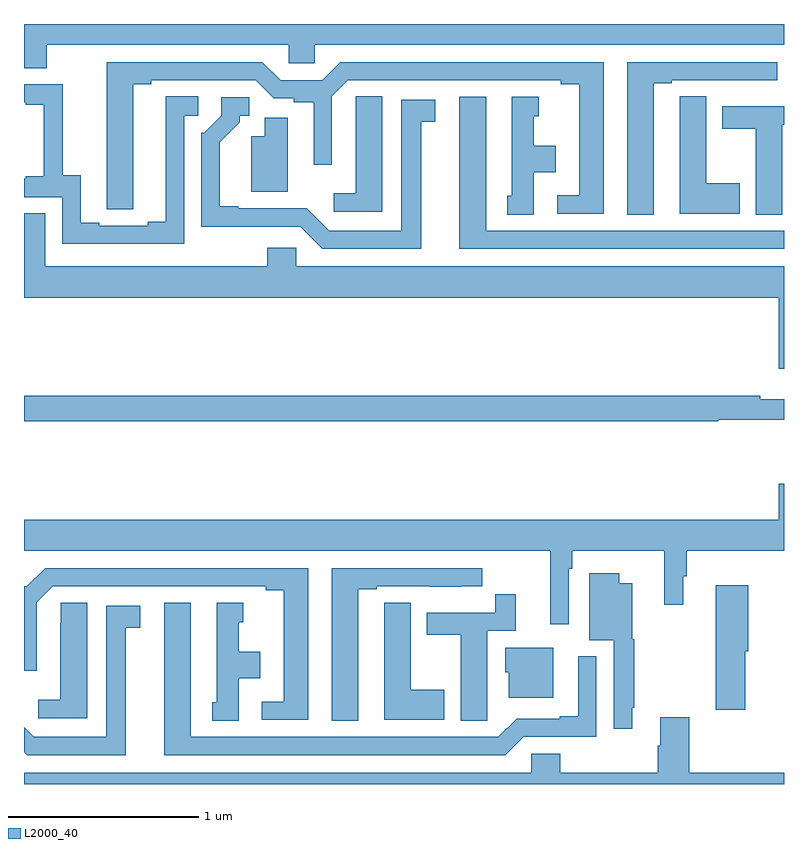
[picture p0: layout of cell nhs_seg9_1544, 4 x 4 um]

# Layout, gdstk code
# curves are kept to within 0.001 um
import gdstk
lib = gdstk.Library(unit=1e-6, precision=1e-09)
def P(c, l, *ps):  # polygons
    for p in ps: c.add(gdstk.Polygon(p, *l))
L2000_40 = (2000, 40)

nhs_seg9_1544 = lib.new_cell('nhs_seg9_1544')
P(nhs_seg9_1544, L2000_40, [(197.121,1224.392),(198.393,1224.392),(198.393,1224.294),(198.531,1224.294),(198.531,1224.392),(201,1224.392),(201,1224.5),(197,1224.5),(197,1224.268),(197.121,1224.268)],
  [(200.05,1224.3),(198.665,1224.3),(198.569,1224.204),(198.351,1224.204),(198.255,1224.3),(197.435,1224.3),(197.436,1223.524),(197.575,1223.524),(197.575,1224.184),(197.671,1224.184),(197.671,1224.204),(198.219,1224.204),(198.315,1224.108),(198.42,1224.108),(198.42,1224.088),(198.524,1224.088),(198.524,1223.76),(198.621,1223.76),(198.621,1224.12),(198.705,1224.204),(199.826,1224.204),(199.826,1224.184),(199.922,1224.184),(199.922,1223.598),(199.806,1223.598),(199.806,1223.502),(200.05,1223.502)],
  [(200.314,1224.189),(200.41,1224.189),(200.41,1224.204),(200.686,1224.204),(200.686,1224.203),(200.852,1224.203),(200.852,1224.204),(200.965,1224.204),(200.965,1224.3),(200.174,1224.3),(200.174,1223.497),(200.314,1223.497)],
  [(197.844,1224.018),(197.917,1224.018),(197.917,1224.119),(197.747,1224.119),(197.747,1223.459),(197.651,1223.459),(197.651,1223.439),(197.395,1223.439),(197.395,1223.454),(197.299,1223.454),(197.299,1223.705),(197.205,1223.705),(197.205,1224.183),(197,1224.183),(197,1224.087),(197.009,1224.087),(197.009,1224.075),(197.105,1224.075),(197.105,1223.698),(197.009,1223.698),(197.009,1223.685),(197,1223.685),(197,1223.589),(197.202,1223.589),(197.202,1223.343),(197.844,1223.343)],
  [(198.886,1224.119),(198.747,1224.119),(198.747,1224.011),(198.746,1224.011),(198.746,1223.608),(198.63,1223.608),(198.63,1223.511),(198.886,1223.511)],
  [(200.767,1223.661),(200.59,1223.661),(200.59,1224.119),(200.451,1224.119),(200.451,1224.011),(200.45,1224.011),(200.45,1223.501),(200.767,1223.501)],
  [(199.684,1223.72),(199.798,1223.72),(199.798,1223.86),(199.684,1223.86),(199.684,1224.015),(199.708,1224.015),(199.708,1224.118),(199.568,1224.118),(199.568,1223.595),(199.544,1223.595),(199.544,1223.497),(199.684,1223.497)],
  [(201,1223.412),(199.432,1223.412),(199.432,1224.118),(199.292,1224.118),(199.292,1223.316),(201,1223.316)],
  [(199.09,1223.986),(199.165,1223.986),(199.165,1224.102),(198.986,1224.102),(198.986,1223.412),(198.606,1223.412),(198.489,1223.529),(198.127,1223.529),(198.127,1223.542),(198.031,1223.542),(198.031,1223.878),(198.136,1223.983),(198.136,1224.018),(198.186,1224.018),(198.186,1224.114),(198.039,1224.114),(198.039,1224.018),(197.949,1223.928),(197.934,1223.928),(197.934,1223.432),(198.453,1223.433),(198.57,1223.316),(199.09,1223.316)],
  [(200.991,1223.608),(200.992,1223.608),(200.992,1223.97),(201,1223.97),(201,1224.066),(200.675,1224.066),(200.675,1223.95),(200.852,1223.95),(200.852,1223.497),(200.991,1223.497)],
  [(198.388,1224.006),(198.266,1224.006),(198.266,1223.908),(198.197,1223.908),(198.197,1223.618),(198.388,1223.618)],
  [(201,1223.224),(198.432,1223.224),(198.432,1223.322),(198.281,1223.322),(198.281,1223.224),(197.113,1223.224),(197.113,1223.504),(197,1223.504),(197,1223.06),(200.972,1223.06),(200.972,1222.686),(201,1222.686)],
  [(200.655,1222.416),(201,1222.416),(201,1222.525),(200.876,1222.525),(200.876,1222.544),(197,1222.544),(197,1222.408),(200.655,1222.408)],
  [(199.866,1221.632),(199.886,1221.632),(199.886,1221.728),(200.371,1221.728),(200.371,1221.444),(200.47,1221.444),(200.47,1221.594),(200.489,1221.594),(200.489,1221.728),(201,1221.728),(201,1222.081),(200.972,1222.081),(200.972,1221.892),(197,1221.892),(197,1221.728),(199.769,1221.728),(199.769,1221.342),(199.866,1221.342)],
  [(198.76,1221.525),(198.856,1221.525),(198.856,1221.54),(199.132,1221.54),(199.132,1221.539),(199.298,1221.539),(199.298,1221.54),(199.411,1221.54),(199.411,1221.636),(198.62,1221.636),(198.62,1220.833),(198.76,1220.833)],
  [(198.496,1221.636),(197.111,1221.636),(197.015,1221.54),(197,1221.54),(197,1221.096),(197.067,1221.096),(197.067,1221.456),(197.151,1221.54),(198.272,1221.54),(198.272,1221.52),(198.368,1221.52),(198.368,1220.934),(198.252,1220.934),(198.252,1220.838),(198.496,1220.838)],
  [(200.2,1220.902),(200.212,1220.902),(200.212,1221.261),(200.2,1221.261),(200.2,1221.556),(200.134,1221.556),(200.134,1221.61),(199.976,1221.61),(199.976,1221.257),(200.103,1221.257),(200.103,1220.79),(200.2,1220.79)],
  [(200.795,1221.198),(200.813,1221.198),(200.813,1221.547),(200.642,1221.547),(200.642,1221.198),(200.641,1221.198),(200.641,1220.892),(200.795,1220.892)],
  [(199.437,1220.944),(199.438,1220.944),(199.438,1221.306),(199.589,1221.306),(199.589,1221.499),(199.48,1221.499),(199.48,1221.402),(199.121,1221.402),(199.121,1221.286),(199.298,1221.286),(199.298,1220.833),(199.437,1220.833)],
  [(199.213,1220.997),(199.036,1220.997),(199.036,1221.455),(198.897,1221.455),(198.897,1221.347),(198.896,1221.347),(198.896,1220.837),(199.213,1220.837)],
  [(197.332,1221.455),(197.193,1221.455),(197.193,1221.347),(197.192,1221.347),(197.192,1220.944),(197.076,1220.944),(197.076,1220.847),(197.332,1220.847)],
  [(199.629,1220.748),(200.013,1220.748),(200.013,1221.172),(199.916,1221.172),(199.916,1220.857),(199.82,1220.857),(199.82,1220.844),(199.593,1220.844),(199.497,1220.748),(197.878,1220.748),(197.878,1221.454),(197.738,1221.454),(197.738,1220.652),(199.533,1220.652)],
  [(198.13,1221.056),(198.244,1221.056),(198.244,1221.196),(198.13,1221.196),(198.13,1221.351),(198.154,1221.351),(198.154,1221.454),(198.014,1221.454),(198.014,1220.931),(197.99,1220.931),(197.99,1220.833),(198.13,1220.833)],
  [(197.536,1221.322),(197.611,1221.322),(197.611,1221.438),(197.432,1221.438),(197.432,1220.748),(197.052,1220.748),(197,1220.8),(197,1220.668),(197.016,1220.652),(197.536,1220.652)],
  [(199.786,1221.217),(199.532,1221.217),(199.532,1221.087),(199.55,1221.087),(199.55,1220.954),(199.786,1220.954)],
  [(201,1220.56),(200.501,1220.56),(200.501,1220.851),(200.348,1220.851),(200.348,1220.702),(200.336,1220.702),(200.336,1220.56),(199.823,1220.56),(199.823,1220.658),(199.671,1220.658),(199.671,1220.56),(197,1220.56),(197,1220.5),(201,1220.5)])

lib.write_gds('nhs_seg9_1544.gds')
